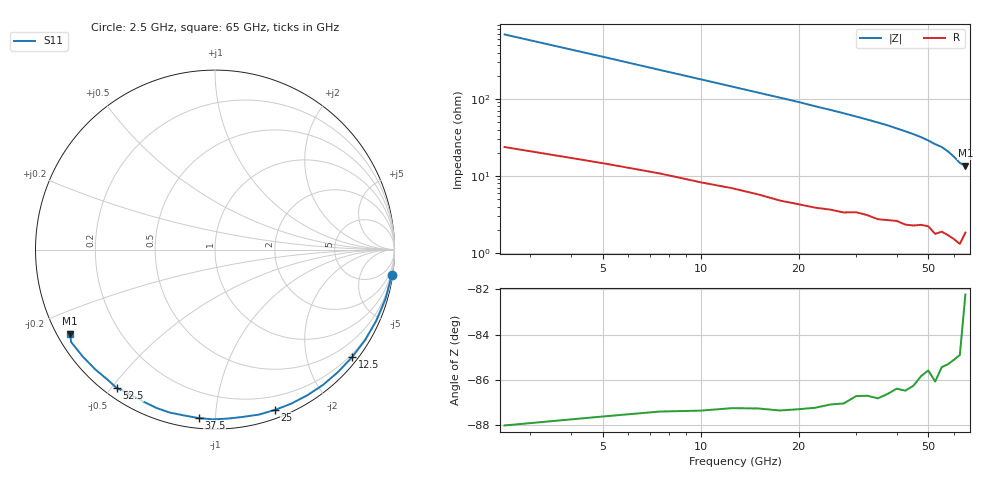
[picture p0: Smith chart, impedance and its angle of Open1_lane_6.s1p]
! File created by SignalIntegrity v1.5.1: Signal and Power Integrity Tools
! https://github.com/Nubis-Communications/SignalIntegrity
# MHz S MA R 50.0
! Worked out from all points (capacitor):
!   26 points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, 2.5 GHz to 65 GHz, reference 50 ohm
!   read as one part to ground: C = 90.2 fF near 2.5 GHz
!   lowest |Z| = 13.6 ohm at 65 GHz (marker M1)
!   S11 on the Smith chart (normalised r, x): 2.5 GHz: 0, -14; 12.5 GHz: 0.14, -2.89; 25 GHz: 0.07, -1.44; 37.5 GHz: 0.05, -0.91; 52.5 GHz: 0.04, -0.52; 65 GHz: 0.04, -0.27
2500  0.995 -8.3
5000  0.9885 -16.1
7500  0.9819 -23.8
10000  0.9765 -31.1
12500  0.9708 -38.2
15000  0.9668 -44.9
17500  0.9646 -51.4
20000  0.961 -57.5
22500  0.9576 -63.8
25000  0.9535 -69.5
27500  0.9514 -75.0
30000  0.9451 -80.5
32500  0.9442 -85.7
35000  0.946 -90.7
37500  0.943 -95.6
40000  0.94 -100.8
42500  0.9425 -105.6
45000  0.9406 -110.3
47500  0.9362 -115.0
50000  0.9355 -120.1
52500  0.9457 -125.4
55000  0.9402 -129.3
57500  0.9436 -134.9
60000  0.9477 -141.1
62500  0.9529 -147.3
65000  0.9338 -149.9
